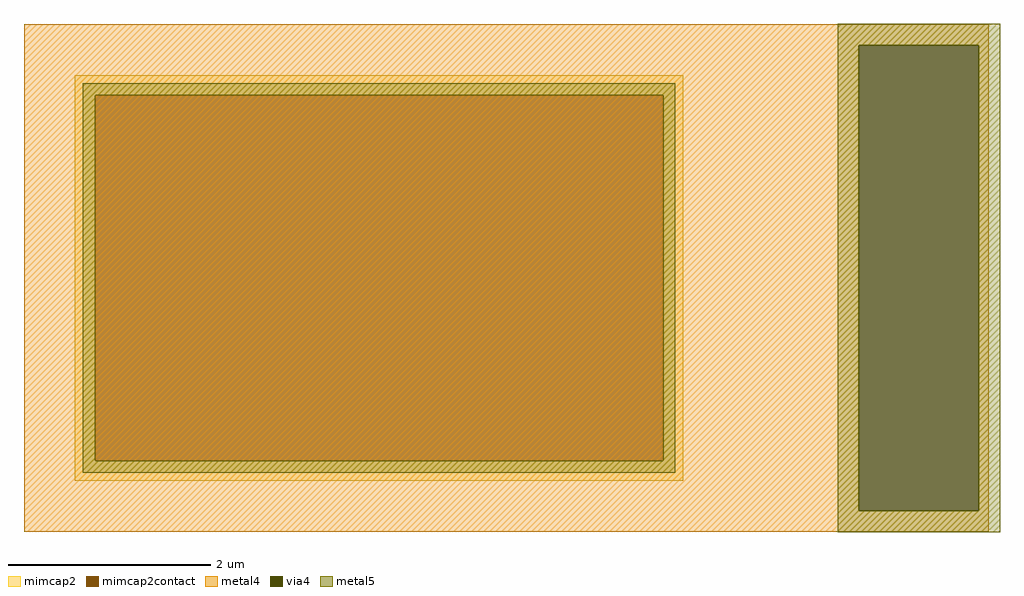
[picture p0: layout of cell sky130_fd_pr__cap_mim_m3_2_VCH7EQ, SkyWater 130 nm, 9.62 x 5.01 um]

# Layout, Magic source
magic
tech sky130A
magscale 1 2
<< metal4 >>
rect -951 459 951 500
rect -951 -459 695 459
rect 931 -459 951 459
rect -951 -500 951 -459
<< via4 >>
rect 695 -459 931 459
<< mimcap2 >>
rect -851 360 349 400
rect -851 -360 -811 360
rect 309 -360 349 360
rect -851 -400 349 -360
<< mimcap2contact >>
rect -811 -360 309 360
<< metal5 >>
rect 653 459 973 501
rect -835 360 333 384
rect -835 -360 -811 360
rect 309 -360 333 360
rect -835 -384 333 -360
rect 653 -459 695 459
rect 931 -459 973 459
rect 653 -501 973 -459
<< properties >>
string FIXED_BBOX -951 -500 449 500
string gencell sky130_fd_pr__cap_mim_m3_2
string library sky130
string parameters w 6.0 l 4.0 val 51.8 carea 2.00 cperi 0.19 nx 1 ny 1 dummy 0 square 0 lmin 2.00 wmin 2.00 lmax 30.0 wmax 30.0 dc 0 bconnect 1 tconnect 1 ccov 100
<< end >>
